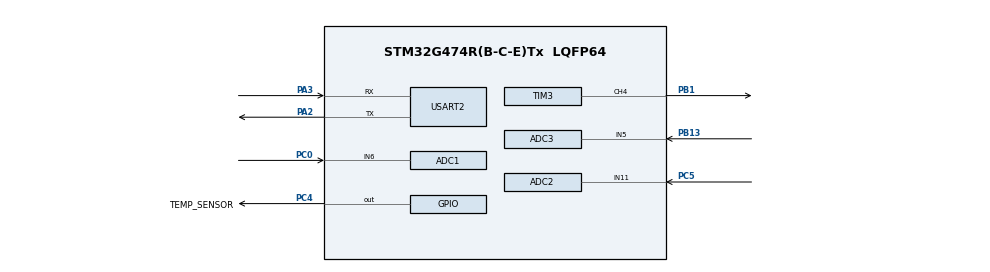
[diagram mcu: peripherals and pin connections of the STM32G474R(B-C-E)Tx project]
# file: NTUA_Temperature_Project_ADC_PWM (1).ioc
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ADC1.Channel-0\#ChannelRegularConversion=ADC_CHANNEL_6
ADC1.NbrOfConversionFlag=1
ADC1.OffsetNumber-0\#ChannelRegularConversion=ADC_OFFSET_NONE
ADC1.Rank-0\#ChannelRegularConversion=1
ADC1.SamplingTime-0\#ChannelRegularConversion=ADC_SAMPLETIME_47CYCLES_5
ADC1.master=1
ADC2.Channel-0\#ChannelRegularConversion=ADC_CHANNEL_11
ADC2.NbrOfConversionFlag=1
ADC2.OffsetNumber-0\#ChannelRegularConversion=ADC_OFFSET_NONE
ADC2.Rank-0\#ChannelRegularConversion=1
ADC2.SamplingTime-0\#ChannelRegularConversion=ADC_SAMPLETIME_47CYCLES_5
ADC3.Channel-0\#ChannelRegularConversion=ADC_CHANNEL_5
ADC3.NbrOfConversionFlag=1
ADC3.OffsetNumber-0\#ChannelRegularConversion=ADC_OFFSET_NONE
ADC3.Rank-0\#ChannelRegularConversion=1
ADC3.SamplingTime-0\#ChannelRegularConversion=ADC_SAMPLETIME_2CYCLES_5
ADC3.master=1
Mcu.Family=STM32G4
Mcu.Name=STM32G474R(B-C-E)Tx
Mcu.Package=LQFP64
NVIC.PriorityGroup=NVIC_PRIORITYGROUP_4
PA13.GPIO_Label=T_SWDIO
PA13.Signal=SYS_JTMS-SWDIO
PA14.GPIO_Label=T_SWCLK
PA14.Signal=SYS_JTCK-SWCLK
PA2.Mode=Asynchronous
PA2.Signal=USART2_TX
PA3.Mode=Asynchronous
PA3.Signal=USART2_RX
PA9.Signal=ADC5_IN2
PB1.Signal=S_TIM3_CH4
PB13.Mode=IN5-Single-Ended
PB13.Signal=ADC3_IN5
PB3.GPIO_Label=T_SWO
PB3.Signal=SYS_JTDO-SWO
PC0.Mode=IN6-Single-Ended
PC0.Signal=ADC1_IN6
PC14-OSC32_IN.GPIO_Label=RCC_OSC32_IN
PC14-OSC32_IN.Signal=RCC_OSC32_IN
PC15-OSC32_OUT.GPIO_Label=RCC_OSC32_OUT
PC15-OSC32_OUT.Signal=RCC_OSC32_OUT
PC4.GPIO_Label=TEMP_SENSOR
PC4.GPIO_ModeDefaultOutputPP=GPIO_MODE_OUTPUT_OD
PC4.GPIO_PuPd=GPIO_NOPULL
PC4.Signal=GPIO_Output
PC5.Mode=IN11-Single-Ended
PC5.Signal=ADC2_IN11
PF0-OSC_IN.GPIO_Label=RCC_OSC_IN
PF0-OSC_IN.Signal=RCC_OSC_IN
PF1-OSC_OUT.GPIO_Label=RCC_OSC_OUT
PF1-OSC_OUT.Signal=RCC_OSC_OUT
ProjectManager.HeapSize=0x200
ProjectManager.StackSize=0x400
ProjectManager.TargetToolchain=STM32CubeIDE
RCC.ADC12Freq_Value=170000000
RCC.ADC345Freq_Value=170000000
RCC.AHBFreq_Value=170000000
RCC.APB1Freq_Value=170000000
RCC.APB1TimFreq_Value=170000000
RCC.APB2Freq_Value=170000000
RCC.APB2TimFreq_Value=170000000
RCC.CortexFreq_Value=170000000
RCC.EXTERNAL_CLOCK_VALUE=12288000
RCC.HCLKFreq_Value=170000000
RCC.HSE_VALUE=24000000
RCC.HSI48_VALUE=48000000
RCC.HSI_VALUE=16000000
RCC.LSE_VALUE=32768
RCC.PLLM=RCC_PLLM_DIV4
RCC.PLLN=85
RCC.RTCClockSelection=RCC_RTCCLKSOURCE_LSE
RCC.SYSCLKFreq_VALUE=170000000
RCC.SYSCLKSource=RCC_SYSCLKSOURCE_PLLCLK
RCC.USBFreq_Value=170000000
RCC.VCOOutputFreq_Value=340000000
SH.S_TIM3_CH4.0=TIM3_CH4,PWM Generation4 CH4
TIM3.Channel-PWM\ Generation4\ CH4=TIM_CHANNEL_4
TIM3.PeriodNoDither=999
TIM3.Prescaler=169
TIM3.PulseNoDither_4=500
USART2.VirtualMode-Asynchronous=VM_ASYNC
VP_SYS_VS_DBSignals.Mode=DisableDeadBatterySignals
board=NUCLEO-G474RE

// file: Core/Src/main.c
/* USER CODE BEGIN Header */
/**
  ******************************************************************************
  * @file           : main.c
  * @brief          : Main program body
  ******************************************************************************
  * @attention
  *
  * Copyright (c) 2026 STMicroelectronics.
  * All rights reserved.
  *
  * This software is licensed under terms that can be found in the LICENSE file
  * in the root directory of this software component.
  * If no LICENSE file comes with this software, it is provided AS-IS.
  *
  ******************************************************************************
  */
/* USER CODE END Header */
#include "main.h"

/* USER CODE BEGIN PD */

// Macros για εύκολη εναλλαγή Input/Output
#define SET_1WIRE_OUTPUT() LL_GPIO_SetPinMode(TEMP_SENSOR_GPIO_Port, TEMP_SENSOR_Pin, LL_GPIO_MODE_OUTPUT)
#define SET_1WIRE_INPUT()  LL_GPIO_SetPinMode(TEMP_SENSOR_GPIO_Port, TEMP_SENSOR_Pin, LL_GPIO_MODE_INPUT)
#define WRITE_1WIRE_LOW()  LL_GPIO_ResetOutputPin(TEMP_SENSOR_GPIO_Port, TEMP_SENSOR_Pin)
#define WRITE_1WIRE_HIGH() LL_GPIO_SetOutputPin(TEMP_SENSOR_GPIO_Port, TEMP_SENSOR_Pin)
#define READ_1WIRE()       LL_GPIO_IsInputPinSet(TEMP_SENSOR_GPIO_Port, TEMP_SENSOR_Pin)

// LCD Pin Definitions - ADJUST THESE TO MATCH YOUR CUBEMX CONFIGURATION
#define LCD_RS_Pin        GPIO_PIN_4
#define LCD_RS_GPIO_Port  GPIOA
#define LCD_RW_Pin        GPIO_PIN_5
#define LCD_RW_GPIO_Port  GPIOA
#define LCD_E_Pin         GPIO_PIN_6
#define LCD_E_GPIO_Port   GPIOA
#define LCD_D4_Pin        GPIO_PIN_4
#define LCD_D4_GPIO_Port  GPIOB
#define LCD_D5_Pin        GPIO_PIN_5
#define LCD_D5_GPIO_Port  GPIOB
#define LCD_D6_Pin        GPIO_PIN_6
#define LCD_D6_GPIO_Port  GPIOB
#define LCD_D7_Pin        GPIO_PIN_7
#define LCD_D7_GPIO_Port  GPIOB

// LCD Commands
#define LCD_CLEARDISPLAY   0x01
#define LCD_RETURNHOME     0x02
#define LCD_ENTRYMODESET   0x04
#define LCD_DISPLAYCONTROL 0x08
#define LCD_CURSORSHIFT    0x10
#define LCD_FUNCTIONSET    0x20
#define LCD_SETCGRAMADDR   0x40
#define LCD_SETDDRAMADDR   0x80
/* USER CODE END PD */

void SystemClock_Config(void);
static void MX_GPIO_Init(void);
static void MX_USART2_UART_Init(void);
static void MX_ADC1_Init(void);
static void MX_ADC2_Init(void);
static void MX_ADC3_Init(void);
static void MX_TIM3_Init(void);

/* USER CODE BEGIN PFP */

void DWT_Init(void);
void delay_us(uint32_t us);
void delay_ms(uint32_t ms);
uint8_t OneWire_Reset(void);
void OneWire_WriteBit(uint8_t bit);
uint8_t OneWire_ReadBit(void);
void OneWire_WriteByte(uint8_t byte);
uint8_t OneWire_ReadByte(void);
float DS18B20_GetTemperature(void);
void UART_SendString(char *s);

// LCD Function Prototypes
void LCD_Init(void);
void LCD_SendCommand(uint8_t cmd);
void LCD_SendData(uint8_t data);
void LCD_Clear(void);
void LCD_SetCursor(uint8_t row, uint8_t col);
void LCD_PrintString(const char *str);
void LCD_PrintFloat(float value, uint8_t decimals);
void LCD_UpdateDisplay(float temp, float target_temp, uint16_t duty);

/* USER CODE END PFP */

int main(void)
{

  /* MCU Configuration--------------------------------------------------------*/

  /* Reset of all peripherals, Initializes the Flash interface and the Systick. */
  LL_APB2_GRP1_EnableClock(LL_APB2_GRP1_PERIPH_SYSCFG);
  LL_APB1_GRP1_EnableClock(LL_APB1_GRP1_PERIPH_PWR);

  /* System interrupt init*/
  NVIC_SetPriorityGrouping(NVIC_PRIORITYGROUP_4);

  /** Disable the internal Pull-Up in Dead Battery pins of UCPD peripheral
  */
  LL_PWR_DisableUCPDDeadBattery();

  /* Configure the system clock */
  SystemClock_Config();

  /* Initialize all configured peripherals */
  MX_GPIO_Init();
  MX_USART2_UART_Init();
  MX_ADC1_Init();
  MX_ADC2_Init();
  MX_ADC3_Init();
  MX_TIM3_Init();

  /* USER CODE BEGIN 2 */

  DWT_Init(); // Ενεργοποίηση ακριβών delays

  // Initialize LCD
  LCD_Init();
  LCD_Clear();
  LCD_SetCursor(0, 0);
  LCD_PrintString("Temp Controller");
  LCD_SetCursor(1, 0);
  LCD_PrintString("Initializing...");
  LCD_Delay_ms(1000);

  UART_SendString("\r\n--- DS18B20 Temperature Sensor Started ---\r\n");
  UART_SendString("Checking for sensor... ");

  if (OneWire_Reset()) {
      UART_SendString("SUCCESS: Sensor Found!\r\n");
      // Update LCD
      LCD_Clear();
      LCD_SetCursor(0, 0);
      LCD_PrintString("Sensor: OK");
  } else {
      UART_SendString("FAILED: Sensor Not Detected!\r\n");
      UART_SendString("Check: 1) SL23 Switch ON, 2) Sensor U13 plugged in.\r\n");
      // Update LCD
      LCD_Clear();
      LCD_SetCursor(0, 0);
      LCD_PrintString("Sensor: FAIL!");
  }

  // ADC enable
  ADC_Enable(ADC1);
  ADC_Enable(ADC2);

  // Start PWM TIM3 CH4
  LL_TIM_CC_EnableChannel(TIM3, LL_TIM_CHANNEL_CH4);
  LL_TIM_EnableCounter(TIM3);
  PWM_SetDutyPermille_TIM3_CH4(0); // duty cycle arxika 0%

  /* USER CODE END 2 */

  /* Infinite loop */
  /* USER CODE BEGIN WHILE */
  while (1)
  {
      char msg[64];
      float temp = DS18B20_GetTemperature();

      if (temp >= -55.0f && temp <= 125.0f) {
          sprintf(msg, "Temperature: %.2f C\r\n", temp);
      } else if (temp <= -1000.0f) {
          sprintf(msg, "Error: Sensor not found! Check SL23.\r\n");
      } else {
          sprintf(msg, "Error: Invalid reading!\r\n");
      }

      UART_SendString(msg);

      uint16_t pot = ADC_Read12(ADC1);                 // PC0 = ADC1_IN6 diavasma pot kai adc
      float T_target = 30.0f + (pot / 4095.0f) * 10.0f;   // se klimaka 30-40

      float error = T_target - temp; // apoklisi temp me target

      ///---------- ipologismos duty -----------------
      // target duty
      int target_permille;
      if (error <= 0.0f) target_permille = 0;
      else if (error >= 10.0f) target_permille = 1000;
      else target_permille = (int)(error * 100.0f); // se klimaka apo 0-1000

      static int duty_permille = 0; // stadiaki metavasi duty
      if (duty_permille < target_permille) {
          duty_permille += 100;
          if (duty_permille > target_permille) duty_permille = target_permille;
      } else if (duty_permille > target_permille) {
          duty_permille -= 100;
          if (duty_permille < target_permille) duty_permille = target_permille;
      }

      PWM_SetDutyPermille_TIM3_CH4((uint16_t)duty_permille);

      // ====== UPDATE LCD DISPLAY ======
      LCD_UpdateDisplay(temp, T_target, (uint16_t)duty_permille);

      delay_ms(1000);
    /* USER CODE END WHILE */

  }
}

void SystemClock_Config(void)
{
  LL_FLASH_SetLatency(LL_FLASH_LATENCY_4);
  while(LL_FLASH_GetLatency() != LL_FLASH_LATENCY_4)
  {
  }
  LL_PWR_EnableRange1BoostMode();
  LL_RCC_HSI_Enable();
   /* Wait till HSI is ready */
  while(LL_RCC_HSI_IsReady() != 1)
  {
  }

  LL_RCC_HSI_SetCalibTrimming(64);
  LL_RCC_PLL_ConfigDomain_SYS(LL_RCC_PLLSOURCE_HSI, LL_RCC_PLLM_DIV_4, 85, LL_RCC_PLLR_DIV_2);
  LL_RCC_PLL_EnableDomain_SYS();
  LL_RCC_PLL_Enable();
   /* Wait till PLL is ready */
  while(LL_RCC_PLL_IsReady() != 1)
  {
  }

  LL_RCC_SetSysClkSource(LL_RCC_SYS_CLKSOURCE_PLL);
  LL_RCC_SetAHBPrescaler(LL_RCC_SYSCLK_DIV_2);
   /* Wait till System clock is ready */
  while(LL_RCC_GetSysClkSource() != LL_RCC_SYS_CLKSOURCE_STATUS_PLL)
  {
  }

  /* Insure 1us transition state at intermediate medium speed clock*/
  for (__IO uint32_t i = (170 >> 1); i !=0; i--);

  /* Set AHB prescaler*/
  LL_RCC_SetAHBPrescaler(LL_RCC_SYSCLK_DIV_1);
  LL_RCC_SetAPB1Prescaler(LL_RCC_APB1_DIV_1);
  LL_RCC_SetAPB2Prescaler(LL_RCC_APB2_DIV_1);

  LL_Init1msTick(170000000);

  LL_SetSystemCoreClock(170000000);
}

static void MX_ADC1_Init(void)
{

  LL_ADC_InitTypeDef ADC_InitStruct = {0};
  LL_ADC_REG_InitTypeDef ADC_REG_InitStruct = {0};
  LL_ADC_CommonInitTypeDef ADC_CommonInitStruct = {0};

  LL_GPIO_InitTypeDef GPIO_InitStruct = {0};

  LL_RCC_SetADCClockSource(LL_RCC_ADC12_CLKSOURCE_SYSCLK);

  /* Peripheral clock enable */
  LL_AHB2_GRP1_EnableClock(LL_AHB2_GRP1_PERIPH_ADC12);

  LL_AHB2_GRP1_EnableClock(LL_AHB2_GRP1_PERIPH_GPIOC);
  /**ADC1 GPIO Configuration
  PC0   ------> ADC1_IN6
  */
  GPIO_InitStruct.Pin = LL_GPIO_PIN_0;
  GPIO_InitStruct.Mode = LL_GPIO_MODE_ANALOG;
  GPIO_InitStruct.Pull = LL_GPIO_PULL_NO;
  LL_GPIO_Init(GPIOC, &GPIO_InitStruct);

  /** Common config
  */
  ADC_InitStruct.Resolution = LL_ADC_RESOLUTION_12B;
  ADC_InitStruct.DataAlignment = LL_ADC_DATA_ALIGN_RIGHT;
  ADC_InitStruct.LowPowerMode = LL_ADC_LP_MODE_NONE;
  LL_ADC_Init(ADC1, &ADC_InitStruct);
  ADC_REG_InitStruct.TriggerSource = LL_ADC_REG_TRIG_SOFTWARE;
  ADC_REG_InitStruct.SequencerLength = LL_ADC_REG_SEQ_SCAN_DISABLE;
  ADC_REG_InitStruct.SequencerDiscont = LL_ADC_REG_SEQ_DISCONT_DISABLE;
  ADC_REG_InitStruct.ContinuousMode = LL_ADC_REG_CONV_SINGLE;
  ADC_REG_InitStruct.DMATransfer = LL_ADC_REG_DMA_TRANSFER_NONE;
  ADC_REG_InitStruct.Overrun = LL_ADC_REG_OVR_DATA_PRESERVED;
  LL_ADC_REG_Init(ADC1, &ADC_REG_InitStruct);
  LL_ADC_SetGainCompensation(ADC1, 0);
  LL_ADC_SetOverSamplingScope(ADC1, LL_ADC_OVS_DISABLE);
  ADC_CommonInitStruct.CommonClock = LL_ADC_CLOCK_SYNC_PCLK_DIV4;
  ADC_CommonInitStruct.Multimode = LL_ADC_MULTI_INDEPENDENT;
  LL_ADC_CommonInit(__LL_ADC_COMMON_INSTANCE(ADC1), &ADC_CommonInitStruct);

  /* Disable ADC deep power down (enabled by default after reset state) */
  LL_ADC_DisableDeepPowerDown(ADC1);
  /* Enable ADC internal voltage regulator */
  LL_ADC_EnableInternalRegulator(ADC1);
  /* Delay for ADC internal voltage regulator stabilization. */
  /* Compute number of CPU cycles to wait for, from delay in us. */
  /* Note: Variable divided by 2 to compensate partially */
  /* CPU processing cycles (depends on compilation optimization). */
  /* Note: If system core clock frequency is below 200kHz, wait time */
  /* is only a few CPU processing cycles. */
  uint32_t wait_loop_index;
  wait_loop_index = ((LL_ADC_DELAY_INTERNAL_REGUL_STAB_US * (SystemCoreClock / (100000 * 2))) / 10);
  while(wait_loop_index != 0)
  {
    wait_loop_index--;
  }

  /** Configure Regular Channel
  */
  LL_ADC_REG_SetSequencerRanks(ADC1, LL_ADC_REG_RANK_1, LL_ADC_CHANNEL_6);
  LL_ADC_SetChannelSamplingTime(ADC1, LL_ADC_CHANNEL_6, LL_ADC_SAMPLINGTIME_47CYCLES_5);
  LL_ADC_SetChannelSingleDiff(ADC1, LL_ADC_CHANNEL_6, LL_ADC_SINGLE_ENDED);

}

static void MX_ADC2_Init(void)
{

  LL_ADC_InitTypeDef ADC_InitStruct = {0};
  LL_ADC_REG_InitTypeDef ADC_REG_InitStruct = {0};

  LL_GPIO_InitTypeDef GPIO_InitStruct = {0};

  LL_RCC_SetADCClockSource(LL_RCC_ADC12_CLKSOURCE_SYSCLK);

  /* Peripheral clock enable */
  LL_AHB2_GRP1_EnableClock(LL_AHB2_GRP1_PERIPH_ADC12);

  LL_AHB2_GRP1_EnableClock(LL_AHB2_GRP1_PERIPH_GPIOC);
  /**ADC2 GPIO Configuration
  PC5   ------> ADC2_IN11
  */
  GPIO_InitStruct.Pin = LL_GPIO_PIN_5;
  GPIO_InitStruct.Mode = LL_GPIO_MODE_ANALOG;
  GPIO_InitStruct.Pull = LL_GPIO_PULL_NO;
  LL_GPIO_Init(GPIOC, &GPIO_InitStruct);

  /** Common config
  */
  ADC_InitStruct.Resolution = LL_ADC_RESOLUTION_12B;
  ADC_InitStruct.DataAlignment = LL_ADC_DATA_ALIGN_RIGHT;
  ADC_InitStruct.LowPowerMode = LL_ADC_LP_MODE_NONE;
  LL_ADC_Init(ADC2, &ADC_InitStruct);
  ADC_REG_InitStruct.TriggerSource = LL_ADC_REG_TRIG_SOFTWARE;
  ADC_REG_InitStruct.SequencerLength = LL_ADC_REG_SEQ_SCAN_DISABLE;
  ADC_REG_InitStruct.SequencerDiscont = LL_ADC_REG_SEQ_DISCONT_DISABLE;
  ADC_REG_InitStruct.ContinuousMode = LL_ADC_REG_CONV_SINGLE;
  ADC_REG_InitStruct.DMATransfer = LL_ADC_REG_DMA_TRANSFER_NONE;
  ADC_REG_InitStruct.Overrun = LL_ADC_REG_OVR_DATA_PRESERVED;
  LL_ADC_REG_Init(ADC2, &ADC_REG_InitStruct);
  LL_ADC_SetGainCompensation(ADC2, 0);
  LL_ADC_SetOverSamplingScope(ADC2, LL_ADC_OVS_DISABLE);

  /* Disable ADC deep power down (enabled by default after reset state) */
  LL_ADC_DisableDeepPowerDown(ADC2);
  /* Enable ADC internal voltage regulator */
  LL_ADC_EnableInternalRegulator(ADC2);
  /* Delay for ADC internal voltage regulator stabilization. */
  /* Compute number of CPU cycles to wait for, from delay in us. */
  /* Note: Variable divided by 2 to compensate partially */
  /* CPU processing cycles (depends on compilation optimization). */
  /* Note: If system core clock frequency is below 200kHz, wait time */
  /* is only a few CPU processing cycles. */
  uint32_t wait_loop_index;
  wait_loop_index = ((LL_ADC_DELAY_INTERNAL_REGUL_STAB_US * (SystemCoreClock / (100000 * 2))) / 10);
  while(wait_loop_index != 0)
  {
    wait_loop_index--;
  }

  /** Configure Regular Channel
  */
  LL_ADC_REG_SetSequencerRanks(ADC2, LL_ADC_REG_RANK_1, LL_ADC_CHANNEL_11);
  LL_ADC_SetChannelSamplingTime(ADC2, LL_ADC_CHANNEL_11, LL_ADC_SAMPLINGTIME_47CYCLES_5);
  LL_ADC_SetChannelSingleDiff(ADC2, LL_ADC_CHANNEL_11, LL_ADC_SINGLE_ENDED);

}

static void MX_ADC3_Init(void)
{

  LL_ADC_InitTypeDef ADC_InitStruct = {0};
  LL_ADC_REG_InitTypeDef ADC_REG_InitStruct = {0};
  LL_ADC_CommonInitTypeDef ADC_CommonInitStruct = {0};

  LL_GPIO_InitTypeDef GPIO_InitStruct = {0};

  LL_RCC_SetADCClockSource(LL_RCC_ADC345_CLKSOURCE_SYSCLK);

  /* Peripheral clock enable */
  LL_AHB2_GRP1_EnableClock(LL_AHB2_GRP1_PERIPH_ADC345);

  LL_AHB2_GRP1_EnableClock(LL_AHB2_GRP1_PERIPH_GPIOB);
  /**ADC3 GPIO Configuration
  PB13   ------> ADC3_IN5
  */
  GPIO_InitStruct.Pin = LL_GPIO_PIN_13;
  GPIO_InitStruct.Mode = LL_GPIO_MODE_ANALOG;
  GPIO_InitStruct.Pull = LL_GPIO_PULL_NO;
  LL_GPIO_Init(GPIOB, &GPIO_InitStruct);

  /** Common config
  */
  ADC_InitStruct.Resolution = LL_ADC_RESOLUTION_12B;
  ADC_InitStruct.DataAlignment = LL_ADC_DATA_ALIGN_RIGHT;
  ADC_InitStruct.LowPowerMode = LL_ADC_LP_MODE_NONE;
  LL_ADC_Init(ADC3, &ADC_InitStruct);
  ADC_REG_InitStruct.TriggerSource = LL_ADC_REG_TRIG_SOFTWARE;
  ADC_REG_InitStruct.SequencerLength = LL_ADC_REG_SEQ_SCAN_DISABLE;
  ADC_REG_InitStruct.SequencerDiscont = LL_ADC_REG_SEQ_DISCONT_DISABLE;
  ADC_REG_InitStruct.ContinuousMode = LL_ADC_REG_CONV_SINGLE;
  ADC_REG_InitStruct.DMATransfer = LL_ADC_REG_DMA_TRANSFER_NONE;
  ADC_REG_InitStruct.Overrun = LL_ADC_REG_OVR_DATA_PRESERVED;
  LL_ADC_REG_Init(ADC3, &ADC_REG_InitStruct);
  LL_ADC_SetGainCompensation(ADC3, 0);
  LL_ADC_SetOverSamplingScope(ADC3, LL_ADC_OVS_DISABLE);
  ADC_CommonInitStruct.CommonClock = LL_ADC_CLOCK_SYNC_PCLK_DIV4;
  ADC_CommonInitStruct.Multimode = LL_ADC_MULTI_INDEPENDENT;
  LL_ADC_CommonInit(__LL_ADC_COMMON_INSTANCE(ADC3), &ADC_CommonInitStruct);

  /* Disable ADC deep power down (enabled by default after reset state) */
  LL_ADC_DisableDeepPowerDown(ADC3);
  /* Enable ADC internal voltage regulator */
  LL_ADC_EnableInternalRegulator(ADC3);
  /* Delay for ADC internal voltage regulator stabilization. */
  /* Compute number of CPU cycles to wait for, from delay in us. */
  /* Note: Variable divided by 2 to compensate partially */
  /* CPU processing cycles (depends on compilation optimization). */
  /* Note: If system core clock frequency is below 200kHz, wait time */
  /* is only a few CPU processing cycles. */
  uint32_t wait_loop_index;
  wait_loop_index = ((LL_ADC_DELAY_INTERNAL_REGUL_STAB_US * (SystemCoreClock / (100000 * 2))) / 10);
  while(wait_loop_index != 0)
  {
    wait_loop_index--;
  }

  /** Configure Regular Channel
  */
  LL_ADC_REG_SetSequencerRanks(ADC3, LL_ADC_REG_RANK_1, LL_ADC_CHANNEL_5);
  LL_ADC_SetChannelSamplingTime(ADC3, LL_ADC_CHANNEL_5, LL_ADC_SAMPLINGTIME_2CYCLES_5);
  LL_ADC_SetChannelSingleDiff(ADC3, LL_ADC_CHANNEL_5, LL_ADC_SINGLE_ENDED);

}

static void MX_TIM3_Init(void)
{

  LL_TIM_InitTypeDef TIM_InitStruct = {0};
  LL_TIM_OC_InitTypeDef TIM_OC_InitStruct = {0};

  LL_GPIO_InitTypeDef GPIO_InitStruct = {0};

  /* Peripheral clock enable */
  LL_APB1_GRP1_EnableClock(LL_APB1_GRP1_PERIPH_TIM3);

  TIM_InitStruct.Prescaler = 169;
  TIM_InitStruct.CounterMode = LL_TIM_COUNTERMODE_UP;
  TIM_InitStruct.Autoreload = 999;
  TIM_InitStruct.ClockDivision = LL_TIM_CLOCKDIVISION_DIV1;
  LL_TIM_Init(TIM3, &TIM_InitStruct);
  LL_TIM_DisableARRPreload(TIM3);
  LL_TIM_OC_EnablePreload(TIM3, LL_TIM_CHANNEL_CH4);
  TIM_OC_InitStruct.OCMode = LL_TIM_OCMODE_PWM1;
  TIM_OC_InitStruct.OCState = LL_TIM_OCSTATE_DISABLE;
  TIM_OC_InitStruct.OCNState = LL_TIM_OCSTATE_DISABLE;
  TIM_OC_InitStruct.CompareValue = 500;
  TIM_OC_InitStruct.OCPolarity = LL_TIM_OCPOLARITY_HIGH;
  LL_TIM_OC_Init(TIM3, LL_TIM_CHANNEL_CH4, &TIM_OC_InitStruct);
  LL_TIM_OC_DisableFast(TIM3, LL_TIM_CHANNEL_CH4);
  LL_TIM_SetTriggerOutput(TIM3, LL_TIM_TRGO_RESET);
  LL_TIM_DisableMasterSlaveMode(TIM3);
  LL_AHB2_GRP1_EnableClock(LL_AHB2_GRP1_PERIPH_GPIOB);
  /**TIM3 GPIO Configuration
  PB1   ------> TIM3_CH4
  */
  GPIO_InitStruct.Pin = LL_GPIO_PIN_1;
  GPIO_InitStruct.Mode = LL_GPIO_MODE_ALTERNATE;
  GPIO_InitStruct.Speed = LL_GPIO_SPEED_FREQ_LOW;
  GPIO_InitStruct.OutputType = LL_GPIO_OUTPUT_PUSHPULL;
  GPIO_InitStruct.Pull = LL_GPIO_PULL_NO;
  GPIO_InitStruct.Alternate = LL_GPIO_AF_2;
  LL_GPIO_Init(GPIOB, &GPIO_InitStruct);

}

static void MX_USART2_UART_Init(void)
{

  LL_USART_InitTypeDef USART_InitStruct = {0};

  LL_GPIO_InitTypeDef GPIO_InitStruct = {0};

  LL_RCC_SetUSARTClockSource(LL_RCC_USART2_CLKSOURCE_PCLK1);

  /* Peripheral clock enable */
  LL_APB1_GRP1_EnableClock(LL_APB1_GRP1_PERIPH_USART2);

  LL_AHB2_GRP1_EnableClock(LL_AHB2_GRP1_PERIPH_GPIOA);
  /**USART2 GPIO Configuration
  PA2   ------> USART2_TX
  PA3   ------> USART2_RX
  */
  GPIO_InitStruct.Pin = LL_GPIO_PIN_2;
  GPIO_InitStruct.Mode = LL_GPIO_MODE_ALTERNATE;
  GPIO_InitStruct.Speed = LL_GPIO_SPEED_FREQ_LOW;
  GPIO_InitStruct.OutputType = LL_GPIO_OUTPUT_PUSHPULL;
  GPIO_InitStruct.Pull = LL_GPIO_PULL_NO;
  GPIO_InitStruct.Alternate = LL_GPIO_AF_7;
  LL_GPIO_Init(GPIOA, &GPIO_InitStruct);

  GPIO_InitStruct.Pin = LL_GPIO_PIN_3;
  GPIO_InitStruct.Mode = LL_GPIO_MODE_ALTERNATE;
  GPIO_InitStruct.Speed = LL_GPIO_SPEED_FREQ_LOW;
  GPIO_InitStruct.OutputType = LL_GPIO_OUTPUT_PUSHPULL;
  GPIO_InitStruct.Pull = LL_GPIO_PULL_NO;
  GPIO_InitStruct.Alternate = LL_GPIO_AF_7;
  LL_GPIO_Init(GPIOA, &GPIO_InitStruct);

  USART_InitStruct.PrescalerValue = LL_USART_PRESCALER_DIV1;
  USART_InitStruct.BaudRate = 115200;
  USART_InitStruct.DataWidth = LL_USART_DATAWIDTH_8B;
  USART_InitStruct.StopBits = LL_USART_STOPBITS_1;
  USART_InitStruct.Parity = LL_USART_PARITY_NONE;
  USART_InitStruct.TransferDirection = LL_USART_DIRECTION_TX_RX;
  USART_InitStruct.HardwareFlowControl = LL_USART_HWCONTROL_NONE;
  USART_InitStruct.OverSampling = LL_USART_OVERSAMPLING_16;
  LL_USART_Init(USART2, &USART_InitStruct);
  LL_USART_SetTXFIFOThreshold(USART2, LL_USART_FIFOTHRESHOLD_1_8);
  LL_USART_SetRXFIFOThreshold(USART2, LL_USART_FIFOTHRESHOLD_1_8);
  LL_USART_DisableFIFO(USART2);
  LL_USART_ConfigAsyncMode(USART2);

  LL_USART_Enable(USART2);

  /* Polling USART2 initialisation */
  while((!(LL_USART_IsActiveFlag_TEACK(USART2))) || (!(LL_USART_IsActiveFlag_REACK(USART2))))
  {
  }

}

static void MX_GPIO_Init(void)
{
  LL_GPIO_InitTypeDef GPIO_InitStruct = {0};

  /* GPIO Ports Clock Enable */
  LL_AHB2_GRP1_EnableClock(LL_AHB2_GRP1_PERIPH_GPIOC);
  LL_AHB2_GRP1_EnableClock(LL_AHB2_GRP1_PERIPH_GPIOF);
  LL_AHB2_GRP1_EnableClock(LL_AHB2_GRP1_PERIPH_GPIOA);
  LL_AHB2_GRP1_EnableClock(LL_AHB2_GRP1_PERIPH_GPIOB);

  /**/
  LL_GPIO_ResetOutputPin(GPIOA, LL_GPIO_PIN_4);

  /**/
  LL_GPIO_ResetOutputPin(GPIOA, LL_GPIO_PIN_5);

  /**/
  LL_GPIO_ResetOutputPin(GPIOA, LL_GPIO_PIN_6);

  /**/
  LL_GPIO_ResetOutputPin(TEMP_SENSOR_GPIO_Port, TEMP_SENSOR_Pin);

  /**/
  LL_GPIO_ResetOutputPin(GPIOB, LL_GPIO_PIN_4);

  /**/
  LL_GPIO_ResetOutputPin(GPIOB, LL_GPIO_PIN_5);

  /**/
  LL_GPIO_ResetOutputPin(GPIOB, LL_GPIO_PIN_6);

  /**/
  LL_GPIO_ResetOutputPin(GPIOB, LL_GPIO_PIN_7);

  /**/
  GPIO_InitStruct.Pin = LL_GPIO_PIN_4;
  GPIO_InitStruct.Mode = LL_GPIO_MODE_OUTPUT;
  GPIO_InitStruct.Speed = LL_GPIO_SPEED_FREQ_LOW;
  GPIO_InitStruct.OutputType = LL_GPIO_OUTPUT_PUSHPULL;
  GPIO_InitStruct.Pull = LL_GPIO_PULL_NO;
  LL_GPIO_Init(GPIOA, &GPIO_InitStruct);

  /**/
  GPIO_InitStruct.Pin = LL_GPIO_PIN_5;
  GPIO_InitStruct.Mode = LL_GPIO_MODE_OUTPUT;
  GPIO_InitStruct.Speed = LL_GPIO_SPEED_FREQ_LOW;
  GPIO_InitStruct.OutputType = LL_GPIO_OUTPUT_PUSHPULL;
  GPIO_InitStruct.Pull = LL_GPIO_PULL_NO;
  LL_GPIO_Init(GPIOA, &GPIO_InitStruct);

  /**/
  GPIO_InitStruct.Pin = LL_GPIO_PIN_6;
  GPIO_InitStruct.Mode = LL_GPIO_MODE_OUTPUT;
  GPIO_InitStruct.Speed = LL_GPIO_SPEED_FREQ_LOW;
  GPIO_InitStruct.OutputType = LL_GPIO_OUTPUT_PUSHPULL;
  GPIO_InitStruct.Pull = LL_GPIO_PULL_NO;
  LL_GPIO_Init(GPIOA, &GPIO_InitStruct);

  /**/
  GPIO_InitStruct.Pin = TEMP_SENSOR_Pin;
  GPIO_InitStruct.Mode = LL_GPIO_MODE_OUTPUT;
  GPIO_InitStruct.Speed = LL_GPIO_SPEED_FREQ_LOW;
  GPIO_InitStruct.OutputType = LL_GPIO_OUTPUT_OPENDRAIN;
  GPIO_InitStruct.Pull = LL_GPIO_PULL_NO;
  LL_GPIO_Init(TEMP_SENSOR_GPIO_Port, &GPIO_InitStruct);

  /**/
  GPIO_InitStruct.Pin = LL_GPIO_PIN_9;
  GPIO_InitStruct.Mode = LL_GPIO_MODE_ANALOG;
  GPIO_InitStruct.Pull = LL_GPIO_PULL_NO;
  LL_GPIO_Init(GPIOA, &GPIO_InitStruct);

  /**/
  GPIO_InitStruct.Pin = LL_GPIO_PIN_4;
  GPIO_InitStruct.Mode = LL_GPIO_MODE_OUTPUT;
  GPIO_InitStruct.Speed = LL_GPIO_SPEED_FREQ_LOW;
  GPIO_InitStruct.OutputType = LL_GPIO_OUTPUT_PUSHPULL;
  GPIO_InitStruct.Pull = LL_GPIO_PULL_NO;
  LL_GPIO_Init(GPIOB, &GPIO_InitStruct);

  /**/
  GPIO_InitStruct.Pin = LL_GPIO_PIN_5;
  GPIO_InitStruct.Mode = LL_GPIO_MODE_OUTPUT;
  GPIO_InitStruct.Speed = LL_GPIO_SPEED_FREQ_LOW;
  GPIO_InitStruct.OutputType = LL_GPIO_OUTPUT_PUSHPULL;
  GPIO_InitStruct.Pull = LL_GPIO_PULL_NO;
  LL_GPIO_Init(GPIOB, &GPIO_InitStruct);

  /**/
  GPIO_InitStruct.Pin = LL_GPIO_PIN_6;
  GPIO_InitStruct.Mode = LL_GPIO_MODE_OUTPUT;
  GPIO_InitStruct.Speed = LL_GPIO_SPEED_FREQ_LOW;
  GPIO_InitStruct.OutputType = LL_GPIO_OUTPUT_PUSHPULL;
  GPIO_InitStruct.Pull = LL_GPIO_PULL_NO;
  LL_GPIO_Init(GPIOB, &GPIO_InitStruct);

  /**/
  GPIO_InitStruct.Pin = LL_GPIO_PIN_7;
  GPIO_InitStruct.Mode = LL_GPIO_MODE_OUTPUT;
  GPIO_InitStruct.Speed = LL_GPIO_SPEED_FREQ_LOW;
  GPIO_InitStruct.OutputType = LL_GPIO_OUTPUT_PUSHPULL;
  GPIO_InitStruct.Pull = LL_GPIO_PULL_NO;
  LL_GPIO_Init(GPIOB, &GPIO_InitStruct);

}

/* USER CODE BEGIN 4 */

/* --- Υλοποίηση Delays μέσω DWT --- */
void DWT_Init(void) {
    CoreDebug->DEMCR |= CoreDebug_DEMCR_TRCENA_Msk;
    DWT->CYCCNT = 0;
    DWT->CTRL |= DWT_CTRL_CYCCNTENA_Msk;
}

void delay_us(uint32_t us) {
    uint32_t cycles = us * (SystemCoreClock / 1000000);
    uint32_t start = DWT->CYCCNT;
    while ((DWT->CYCCNT - start) < cycles);
}

void delay_ms(uint32_t ms) {
    while (ms--) delay_us(1000);
}

/* --- Ρουτίνες 1-Wire Serial Communication --- */
// ... [KEEP ALL YOUR EXISTING 1-WIRE AND UART CODE EXACTLY AS IS] ...

/* --- Αποστολή μέσω UART2 (LL) --- */
void UART_SendString(char *s) {
    while (*s) {
        while (!LL_USART_IsActiveFlag_TXE(USART2));
        LL_USART_TransmitData8(USART2, *s++);
    }
}

/* ========== LCD IMPLEMENTATION ========== */
/* Note: Using simple delays for LCD timing to avoid conflicts with DWT delays */

static void LCD_Delay_us(uint32_t us) {
    // Simple loop delay for LCD (doesn't use DWT)
    volatile uint32_t count = us * 16;  // Adjust based on your clock speed (170MHz)
    while(count--);
}

static void LCD_Delay_ms(uint32_t ms) {
    while(ms--) {
        LCD_Delay_us(1000);
    }
}

static void LCD_PulseEnable(void) {
    LL_GPIO_SetOutputPin(LCD_E_GPIO_Port, LCD_E_Pin);
    LCD_Delay_us(1);
    LL_GPIO_ResetOutputPin(LCD_E_GPIO_Port, LCD_E_Pin);
    LCD_Delay_us(100);
}

static void LCD_SendNibble(uint8_t nibble) {
    // Set data pins according to nibble
    if (nibble & 0x01) LL_GPIO_SetOutputPin(LCD_D4_GPIO_Port, LCD_D4_Pin);
    else LL_GPIO_ResetOutputPin(LCD_D4_GPIO_Port, LCD_D4_Pin);

    if (nibble & 0x02) LL_GPIO_SetOutputPin(LCD_D5_GPIO_Port, LCD_D5_Pin);
    else LL_GPIO_ResetOutputPin(LCD_D5_GPIO_Port, LCD_D5_Pin);

    if (nibble & 0x04) LL_GPIO_SetOutputPin(LCD_D6_GPIO_Port, LCD_D6_Pin);
    else LL_GPIO_ResetOutputPin(LCD_D6_GPIO_Port, LCD_D6_Pin);

    if (nibble & 0x08) LL_GPIO_SetOutputPin(LCD_D7_GPIO_Port, LCD_D7_Pin);
    else LL_GPIO_ResetOutputPin(LCD_D7_GPIO_Port, LCD_D7_Pin);

    LCD_PulseEnable();
}

void LCD_SendCommand(uint8_t cmd) {
    // Command mode (RS = 0)
    LL_GPIO_ResetOutputPin(LCD_RS_GPIO_Port, LCD_RS_Pin);

    // Send high nibble
    LCD_SendNibble(cmd >> 4);
    // Send low nibble
    LCD_SendNibble(cmd & 0x0F);

    if(cmd == LCD_CLEARDISPLAY || cmd == LCD_RETURNHOME) {
        LCD_Delay_ms(2);
    } else {
        LCD_Delay_us(100);
    }
}

void LCD_SendData(uint8_t data) {
    // Data mode (RS = 1)
    LL_GPIO_SetOutputPin(LCD_RS_GPIO_Port, LCD_RS_Pin);

    // Send high nibble
    LCD_SendNibble(data >> 4);
    // Send low nibble
    LCD_SendNibble(data & 0x0F);

    LCD_Delay_us(100);
}

void LCD_Init(void) {
    // Initial delay for LCD power-up
    LCD_Delay_ms(50);

    // Set RW pin low (write mode)
    LL_GPIO_ResetOutputPin(LCD_RW_GPIO_Port, LCD_RW_Pin);

    // Set RS low (command mode)
    LL_GPIO_ResetOutputPin(LCD_RS_GPIO_Port, LCD_RS_Pin);

    // Initialization sequence (4-bit mode)
    LCD_SendNibble(0x03);
    LCD_Delay_ms(5);
    LCD_SendNibble(0x03);
    LCD_Delay_us(150);
    LCD_SendNibble(0x03);
    LCD_Delay_us(150);

    // Switch to 4-bit mode
    LCD_SendNibble(0x02);
    LCD_Delay_us(150);

    // Function Set: 4-bit, 2 lines, 5x8 dots
    LCD_SendCommand(0x28);
    LCD_Delay_us(150);

    // Display ON, Cursor OFF, Blink OFF
    LCD_SendCommand(0x0C);
    LCD_Delay_us(150);

    // Clear display
    LCD_SendCommand(0x01);
    LCD_Delay_ms(2);

    // Entry mode: Increment, no shift
    LCD_SendCommand(0x06);
    LCD_Delay_us(150);
}

void LCD_Clear(void) {
    LCD_SendCommand(LCD_CLEARDISPLAY);
    LCD_Delay_ms(2);
}

void LCD_SetCursor(uint8_t row, uint8_t col) {
    uint8_t row_offsets[] = {0x00, 0x40};

    if(row >= 2) row = 1;
    if(col >= 16) col = 15;

    LCD_SendCommand(0x80 | (col + row_offsets[row]));
}

void LCD_PrintString(const char *str) {
    while(*str) {
        LCD_SendData(*str++);
    }
}

void LCD_PrintFloat(float value, uint8_t decimals) {
    char buffer[16];

    // Handle special cases
    if(value <= -1000.0f) {
        LCD_PrintString("Sensor Error");
        return;
    }

    // Format float based on decimals
    if(decimals == 0) {
        sprintf(buffer, "%d", (int)value);
    } else if(decimals == 1) {
        sprintf(buffer, "%.1f", value);
    } else {
        sprintf(buffer, "%.2f", value);
    }

    LCD_PrintString(buffer);
}

void LCD_UpdateDisplay(float temp, float target_temp, uint16_t duty) {
    char buffer[17];

    // Row 0: Actual Temperature
    LCD_SetCursor(0, 0);
    if(temp >= -55.0f && temp <= 125.0f) {
        sprintf(buffer, "T:%6.2fC", temp);
        LCD_PrintString(buffer);
    } else {
        LCD_PrintString("T:---.--C");
    }

    // Row 1: Target Temperature and Duty
    LCD_SetCursor(1, 0);
    sprintf(buffer, "G:%5.1fC D:%3d%%", target_temp, duty/10);
    LCD_PrintString(buffer);
}

/* USER CODE END 4 */

void Error_Handler(void)
{
  __disable_irq();
  while (1)
  {
  }
}
